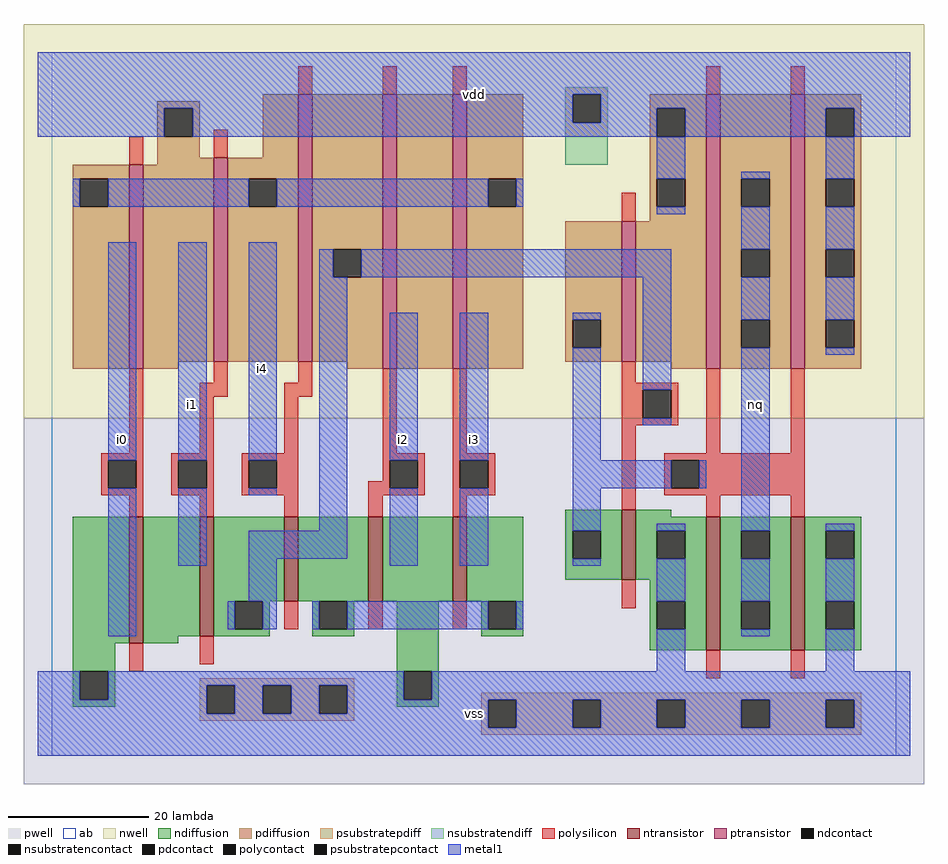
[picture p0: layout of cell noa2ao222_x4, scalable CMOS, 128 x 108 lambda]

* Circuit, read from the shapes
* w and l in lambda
.subckt noa2ao222_x4 i0 i1 i2 i3 i4 nq vdd vss
M1 n1 i0 vss vss nfet w=18 l=2
M2 n2 i1 n1 vss nfet w=17 l=2
M3 n3 i4 n2 vss nfet w=12 l=2
M4 vss i2 n3 vss nfet w=12 l=2
M5 n3 i3 vss vss nfet w=12 l=2
M6 vss n2 n4 vss nfet w=10 l=2
M7 nq n4 vss vss nfet w=19 l=2 m=2
M8 vdd i0 n5 vdd pfet w=29 l=2
M9 n5 i1 vdd vdd pfet w=29 l=2
M10 n2 i4 n5 vdd pfet w=38 l=2
M11 n6 i2 n2 vdd pfet w=39 l=2
M12 n5 i3 n6 vdd pfet w=39 l=2
M13 vdd n2 n4 vdd pfet w=20 l=2
M14 nq n4 vdd vdd pfet w=39 l=2 m=2
.ends

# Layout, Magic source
magic
tech scmos
<< ab >>
rect 0 0 120 100
<< pwell >>
rect -4 -4 124 48
<< nwell >>
rect -4 48 124 104
<< polysilicon >>
rect 35 94 37 98
rect 47 94 49 98
rect 57 94 59 98
rect 93 94 95 98
rect 105 94 107 98
rect 11 84 13 88
rect 23 85 25 89
rect 11 43 13 55
rect 23 53 25 56
rect 35 53 37 56
rect 81 76 83 80
rect 21 51 25 53
rect 33 51 37 53
rect 21 43 23 51
rect 33 43 35 51
rect 7 42 13 43
rect 7 38 8 42
rect 12 38 13 42
rect 7 37 13 38
rect 17 42 23 43
rect 17 38 18 42
rect 22 38 23 42
rect 17 37 23 38
rect 27 42 35 43
rect 27 38 28 42
rect 32 38 35 42
rect 47 43 49 55
rect 57 43 59 55
rect 81 53 83 56
rect 81 52 89 53
rect 81 48 84 52
rect 88 48 89 52
rect 81 47 89 48
rect 47 42 53 43
rect 47 39 48 42
rect 27 37 35 38
rect 11 34 13 37
rect 21 34 23 37
rect 33 34 35 37
rect 45 38 48 39
rect 52 38 53 42
rect 45 37 53 38
rect 57 42 63 43
rect 57 38 58 42
rect 62 38 63 42
rect 57 37 63 38
rect 45 34 47 37
rect 57 34 59 37
rect 81 35 83 47
rect 93 43 95 55
rect 105 43 107 55
rect 87 42 107 43
rect 87 38 88 42
rect 92 38 107 42
rect 87 37 107 38
rect 93 34 95 37
rect 105 34 107 37
rect 33 18 35 22
rect 45 18 47 22
rect 11 12 13 16
rect 21 13 23 17
rect 57 18 59 22
rect 81 21 83 25
rect 93 11 95 15
rect 105 11 107 15
<< ndiffusion >>
rect 3 16 11 34
rect 13 17 21 34
rect 23 22 33 34
rect 35 22 45 34
rect 47 22 57 34
rect 59 22 67 34
rect 73 32 81 35
rect 73 28 74 32
rect 78 28 81 32
rect 73 25 81 28
rect 83 34 88 35
rect 83 32 93 34
rect 83 28 86 32
rect 90 28 93 32
rect 83 25 93 28
rect 23 18 26 22
rect 30 18 31 22
rect 37 18 38 22
rect 42 18 43 22
rect 23 17 31 18
rect 37 17 43 18
rect 13 16 18 17
rect 3 12 9 16
rect 49 12 55 22
rect 61 18 62 22
rect 66 18 67 22
rect 85 22 93 25
rect 61 17 67 18
rect 85 18 86 22
rect 90 18 93 22
rect 85 15 93 18
rect 95 32 105 34
rect 95 28 98 32
rect 102 28 105 32
rect 95 22 105 28
rect 95 18 98 22
rect 102 18 105 22
rect 95 15 105 18
rect 107 32 115 34
rect 107 28 110 32
rect 114 28 115 32
rect 107 22 115 28
rect 107 18 110 22
rect 114 18 115 22
rect 107 15 115 18
rect 3 8 4 12
rect 8 8 9 12
rect 3 7 9 8
rect 49 8 50 12
rect 54 8 55 12
rect 49 7 55 8
<< pdiffusion >>
rect 15 92 21 93
rect 15 88 16 92
rect 20 88 21 92
rect 15 85 21 88
rect 30 85 35 94
rect 15 84 23 85
rect 3 82 11 84
rect 3 78 4 82
rect 8 78 11 82
rect 3 55 11 78
rect 13 56 23 84
rect 25 82 35 85
rect 25 78 28 82
rect 32 78 35 82
rect 25 56 35 78
rect 37 72 47 94
rect 37 68 40 72
rect 44 68 47 72
rect 37 56 47 68
rect 13 55 18 56
rect 42 55 47 56
rect 49 55 57 94
rect 59 82 67 94
rect 85 92 93 94
rect 85 88 86 92
rect 90 88 93 92
rect 59 78 62 82
rect 66 78 67 82
rect 85 82 93 88
rect 59 55 67 78
rect 85 78 86 82
rect 90 78 93 82
rect 85 76 93 78
rect 73 62 81 76
rect 73 58 74 62
rect 78 58 81 62
rect 73 56 81 58
rect 83 56 93 76
rect 88 55 93 56
rect 95 82 105 94
rect 95 78 98 82
rect 102 78 105 82
rect 95 72 105 78
rect 95 68 98 72
rect 102 68 105 72
rect 95 62 105 68
rect 95 58 98 62
rect 102 58 105 62
rect 95 55 105 58
rect 107 92 115 94
rect 107 88 110 92
rect 114 88 115 92
rect 107 82 115 88
rect 107 78 110 82
rect 114 78 115 82
rect 107 72 115 78
rect 107 68 110 72
rect 114 68 115 72
rect 107 62 115 68
rect 107 58 110 62
rect 114 58 115 62
rect 107 55 115 58
<< metal1 >>
rect -2 94 122 100
rect -2 92 74 94
rect -2 88 16 92
rect 20 90 74 92
rect 78 92 122 94
rect 78 90 86 92
rect 20 88 86 90
rect 90 88 110 92
rect 114 88 122 92
rect 86 82 90 88
rect 3 78 4 82
rect 8 78 28 82
rect 32 78 62 82
rect 66 78 67 82
rect 86 77 90 78
rect 98 82 102 83
rect 8 42 12 73
rect 8 17 12 38
rect 18 42 22 73
rect 18 27 22 38
rect 28 42 32 73
rect 98 72 102 78
rect 28 37 32 38
rect 38 68 40 72
rect 44 68 88 72
rect 38 32 42 68
rect 28 28 42 32
rect 48 42 52 63
rect 28 22 32 28
rect 48 27 52 38
rect 58 42 62 63
rect 58 27 62 38
rect 74 62 78 63
rect 74 42 78 58
rect 84 52 88 68
rect 84 47 88 48
rect 98 62 102 68
rect 74 38 88 42
rect 92 38 93 42
rect 74 32 78 38
rect 74 27 78 28
rect 86 32 90 33
rect 86 22 90 28
rect 25 18 26 22
rect 30 18 32 22
rect 37 18 38 22
rect 42 18 62 22
rect 66 18 67 22
rect 86 12 90 18
rect 98 32 102 58
rect 110 82 114 88
rect 110 72 114 78
rect 110 62 114 68
rect 110 57 114 58
rect 98 22 102 28
rect 98 17 102 18
rect 110 32 114 33
rect 110 22 114 28
rect 110 12 114 18
rect -2 8 4 12
rect 8 10 50 12
rect 8 8 22 10
rect -2 6 22 8
rect 26 6 30 10
rect 34 6 38 10
rect 42 8 50 10
rect 54 8 122 12
rect 42 6 62 8
rect -2 4 62 6
rect 66 4 74 8
rect 78 4 86 8
rect 90 4 98 8
rect 102 4 110 8
rect 114 4 122 8
rect -2 0 122 4
<< ntransistor >>
rect 11 16 13 34
rect 21 17 23 34
rect 33 22 35 34
rect 45 22 47 34
rect 57 22 59 34
rect 81 25 83 35
rect 93 15 95 34
rect 105 15 107 34
<< ptransistor >>
rect 11 55 13 84
rect 23 56 25 85
rect 35 56 37 94
rect 47 55 49 94
rect 57 55 59 94
rect 81 56 83 76
rect 93 55 95 94
rect 105 55 107 94
<< polycontact >>
rect 8 38 12 42
rect 18 38 22 42
rect 28 38 32 42
rect 84 48 88 52
rect 48 38 52 42
rect 58 38 62 42
rect 88 38 92 42
<< ndcontact >>
rect 74 28 78 32
rect 86 28 90 32
rect 26 18 30 22
rect 38 18 42 22
rect 62 18 66 22
rect 86 18 90 22
rect 98 28 102 32
rect 98 18 102 22
rect 110 28 114 32
rect 110 18 114 22
rect 4 8 8 12
rect 50 8 54 12
<< pdcontact >>
rect 16 88 20 92
rect 4 78 8 82
rect 28 78 32 82
rect 40 68 44 72
rect 86 88 90 92
rect 62 78 66 82
rect 86 78 90 82
rect 74 58 78 62
rect 98 78 102 82
rect 98 68 102 72
rect 98 58 102 62
rect 110 88 114 92
rect 110 78 114 82
rect 110 68 114 72
rect 110 58 114 62
<< psubstratepcontact >>
rect 22 6 26 10
rect 30 6 34 10
rect 38 6 42 10
rect 62 4 66 8
rect 74 4 78 8
rect 86 4 90 8
rect 98 4 102 8
rect 110 4 114 8
<< nsubstratencontact >>
rect 74 90 78 94
<< psubstratepdiff >>
rect 21 10 43 11
rect 21 6 22 10
rect 26 6 30 10
rect 34 6 38 10
rect 42 6 43 10
rect 61 8 115 9
rect 21 5 43 6
rect 61 4 62 8
rect 66 4 74 8
rect 78 4 86 8
rect 90 4 98 8
rect 102 4 110 8
rect 114 4 115 8
rect 61 3 115 4
<< nsubstratendiff >>
rect 73 94 79 95
rect 73 90 74 94
rect 78 90 79 94
rect 73 84 79 90
<< labels >>
rlabel metal1 10 45 10 45 6 i0
rlabel metal1 20 50 20 50 6 i1
rlabel metal1 30 55 30 55 6 i4
rlabel metal1 60 6 60 6 6 vss
rlabel metal1 50 45 50 45 6 i2
rlabel metal1 60 45 60 45 6 i3
rlabel metal1 60 94 60 94 6 vdd
rlabel metal1 100 50 100 50 6 nq
<< end >>
